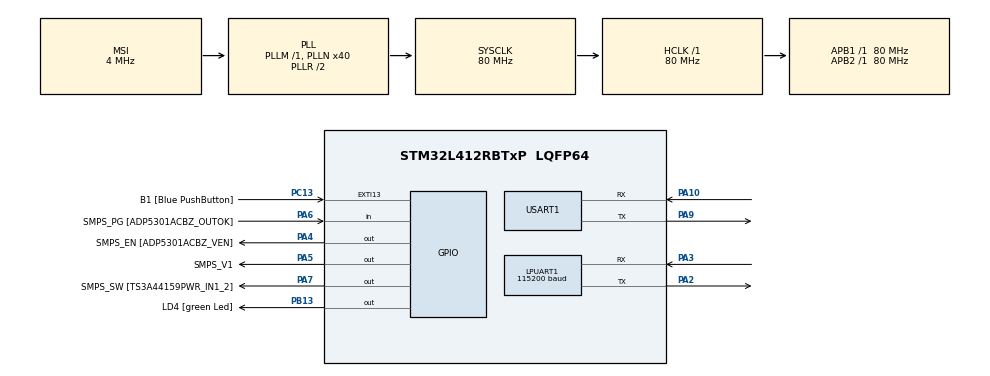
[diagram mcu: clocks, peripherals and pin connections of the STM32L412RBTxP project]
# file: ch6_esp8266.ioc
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LPUART1.BaudRate=115200
LPUART1.WordLength=UART_WORDLENGTH_8B
Mcu.Family=STM32L4
Mcu.Name=STM32L412RBTxP
Mcu.Package=LQFP64
NVIC.PriorityGroup=NVIC_PRIORITYGROUP_4
NVIC.USART1_IRQn=true\:0\:0\:false\:true\:true\:1\:true\:true\:true
PA10.Mode=Asynchronous
PA10.Signal=USART1_RX
PA13\ (JTMS/SWDIO).GPIO_Label=TMS
PA13\ (JTMS/SWDIO).Mode=Serial_Wire
PA13\ (JTMS/SWDIO).Signal=SYS_JTMS-SWDIO
PA14\ (JTCK/SWCLK).GPIO_Label=TCK
PA14\ (JTCK/SWCLK).Mode=Serial_Wire
PA14\ (JTCK/SWCLK).Signal=SYS_JTCK-SWCLK
PA2.Mode=Asynchronous
PA2.Signal=LPUART1_TX
PA3.Mode=Asynchronous
PA3.Signal=LPUART1_RX
PA4.GPIO_Label=SMPS_EN [ADP5301ACBZ_VEN]
PA4.Signal=GPIO_Output
PA5.GPIO_Label=SMPS_V1
PA5.GPIO_ModeDefaultOutputPP=GPIO_MODE_OUTPUT_PP
PA5.GPIO_PuPd=GPIO_NOPULL
PA5.GPIO_Speed=GPIO_SPEED_FREQ_LOW
PA5.Signal=GPIO_Output
PA6.GPIO_Label=SMPS_PG [ADP5301ACBZ_OUTOK]
PA6.GPIO_PuPd=GPIO_PULLUP
PA6.Signal=GPIO_Input
PA7.GPIO_Label=SMPS_SW [TS3A44159PWR_IN1_2]
PA7.Signal=GPIO_Output
PA9.Mode=Asynchronous
PA9.Signal=USART1_TX
PB13.GPIO_Label=LD4 [green Led]
PB13.Signal=GPIO_Output
PB3\ (JTDO/TRACESWO).GPIO_Label=SWO
PB3\ (JTDO/TRACESWO).Signal=SYS_JTDO-SWO
PC13.GPIO_Label=B1 [Blue PushButton]
PC13.GPIO_ModeDefaultEXTI=GPIO_MODE_IT_FALLING
PC13.GPIO_PuPd=GPIO_NOPULL
PC13.Signal=GPXTI13
PC14-OSC32_IN\ (PC14).Mode=LSE-External-Oscillator
PC14-OSC32_IN\ (PC14).Signal=RCC_OSC32_IN
PC15-OSC32_OUT\ (PC15).Mode=LSE-External-Oscillator
PC15-OSC32_OUT\ (PC15).Signal=RCC_OSC32_OUT
PH0-OSC_IN\ (PH0).GPIO_Label=MCO
PH0-OSC_IN\ (PH0).Mode=HSE-External-Clock-Source
PH0-OSC_IN\ (PH0).Signal=RCC_OSC_IN
PH1-OSC_OUT\ (PH1).Signal=RCC_OSC_OUT
ProjectManager.HeapSize=0x200
ProjectManager.StackSize=0x400
ProjectManager.TargetToolchain=STM32CubeIDE
RCC.ADCFreq_Value=80000000
RCC.AHBFreq_Value=80000000
RCC.APB1Freq_Value=80000000
RCC.APB1TimFreq_Value=80000000
RCC.APB2Freq_Value=80000000
RCC.APB2TimFreq_Value=80000000
RCC.CortexFreq_Value=80000000
RCC.FLatency=FLASH_LATENCY_4
RCC.HCLKFreq_Value=80000000
RCC.HSE_VALUE=8000000
RCC.HSI48_VALUE=48000000
RCC.HSICalibrationValue=64
RCC.HSI_VALUE=16000000
RCC.MSIAutoCalibration=DISABLED
RCC.MSI_VALUE=4000000
RCC.PLLN=40
RCC.PREFETCH_ENABLE=1
RCC.SYSCLKFreq_VALUE=80000000
RCC.SYSCLKSource=RCC_SYSCLKSOURCE_PLLCLK
RCC.USBFreq_Value=4000000
RCC.VCOOutputFreq_Value=160000000
USART1.VirtualMode-Asynchronous=VM_ASYNC
board=NUCLEO-L412RB-P

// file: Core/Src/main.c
/* USER CODE BEGIN Header */
/**
  ******************************************************************************
  * @file           : main.c
  * @brief          : Main program body
  ******************************************************************************
  * @attention
  *
  * Copyright (c) 2026 STMicroelectronics.
  * All rights reserved.
  *
  * This software is licensed under terms that can be found in the LICENSE file
  * in the root directory of this software component.
  * If no LICENSE file comes with this software, it is provided AS-IS.
  *
  ******************************************************************************
  */
/* USER CODE END Header */
#include "main.h"

/* USER CODE BEGIN Includes */
#include "esp8266.h"
#include "queue.h"
#include <stdbool.h>
#include <stdint.h>
#include <string.h>

/* USER CODE END Includes */

UART_HandleTypeDef hlpuart1;
UART_HandleTypeDef huart1;

/* USER CODE BEGIN PV */

// UART로 출력 보내기 위한 함수
int _write(int file, char *ptr, int len) {

  //(void)file;
  HAL_UART_Transmit(&hlpuart1, (uint8_t *)ptr, len, 100);
  // HAL_UART_Transmit(&hlpuart1, (uint8_t *)ptr, len, HAL_MAX_DELAY);
  return len;

}
/* USER CODE END PV */

void SystemClock_Config(void);
static void MX_GPIO_Init(void);
static void MX_LPUART1_UART_Init(void);
static void MX_USART1_UART_Init(void);
static void MX_NVIC_Init(void);

/* USER CODE BEGIN 0 */
#define BUF_SIZE 100

uint8_t rxData;
uint8_t buf[BUF_SIZE] = {
    0,
};
uint8_t recv_buf[BUF_SIZE] = {
    0,
};

// 구조체 선언
ring struct_ring;
esp_8266 struct_esp8266;

/* USER CODE END 0 */

int main(void)
{

  /* MCU Configuration--------------------------------------------------------*/

  /* Reset of all peripherals, Initializes the Flash interface and the Systick. */
   HAL_Init();

  /* Configure the system clock */
  SystemClock_Config();

  /* USER CODE BEGIN SysInit */  // r->q_data[r->index] = r->data[r->front];

  /* USER CODE END SysInit */

  /* Initialize all configured peripherals */
  MX_GPIO_Init();
  MX_LPUART1_UART_Init();
  MX_USART1_UART_Init();

  /* Initialize interrupts */
  MX_NVIC_Init();
  /* USER CODE BEGIN 2 */

  printf("LPUART printf test \r\n");

  // 구조체 초기화
  init_ring(&struct_ring, buf, BUF_SIZE);
  init_esp_8266(&struct_esp8266, recv_buf);

  HAL_UART_Receive_IT(&huart1, &rxData, 1);

  // html의 strlen 값 -> 추후 값 가져오기로 대체 예정
  // print_html_strlen();
  char *return_AT[50];
  strcpy(return_AT, set_AT_CIPSEND());
  printf("return_AT : %s \r\n", return_AT);

  /* USER CODE END 2 */

  /* Infinite loop */
  while (1){

    /* USER CODE BEGIN 3 */

    // process_ring_html을 bool로 처리할 이유 있을지?
    // 링버퍼에 저장하는 함수
    process_ring_html(&struct_ring, &struct_esp8266);
    // device 연결을 위한 함수 -> 연결 이후에 사용 불가능한 state
    sequence_html(&struct_ring, &struct_esp8266);

    // AP, Device가 정상 연결 상태인지 check
    check_connection(&struct_ring, &struct_esp8266);
    // html 데이터 전송 , LED 동작 기능
    // connect_html(&recv, recv_buf, &struct_esp8266, &recv_cnt);

    /* USER CODE END 3 */
  }
}

void SystemClock_Config(void)
{
  RCC_OscInitTypeDef RCC_OscInitStruct = {0};
  RCC_ClkInitTypeDef RCC_ClkInitStruct = {0};

  /** Configure the main internal regulator output voltage
  */
  if (HAL_PWREx_ControlVoltageScaling(PWR_REGULATOR_VOLTAGE_SCALE1) != HAL_OK)
  {
    Error_Handler();
  }

  /** Initializes the RCC Oscillators according to the specified parameters
  * in the RCC_OscInitTypeDef structure.
  */
  RCC_OscInitStruct.OscillatorType = RCC_OSCILLATORTYPE_MSI;
  RCC_OscInitStruct.MSIState = RCC_MSI_ON;
  RCC_OscInitStruct.MSICalibrationValue = 0;
  RCC_OscInitStruct.MSIClockRange = RCC_MSIRANGE_6;
  RCC_OscInitStruct.PLL.PLLState = RCC_PLL_ON;
  RCC_OscInitStruct.PLL.PLLSource = RCC_PLLSOURCE_MSI;
  RCC_OscInitStruct.PLL.PLLM = 1;
  RCC_OscInitStruct.PLL.PLLN = 40;
  RCC_OscInitStruct.PLL.PLLQ = RCC_PLLQ_DIV2;
  RCC_OscInitStruct.PLL.PLLR = RCC_PLLR_DIV2;
  if (HAL_RCC_OscConfig(&RCC_OscInitStruct) != HAL_OK)
  {
    Error_Handler();
  }

  /** Initializes the CPU, AHB and APB buses clocks
  */
  RCC_ClkInitStruct.ClockType = RCC_CLOCKTYPE_HCLK|RCC_CLOCKTYPE_SYSCLK
                              |RCC_CLOCKTYPE_PCLK1|RCC_CLOCKTYPE_PCLK2;
  RCC_ClkInitStruct.SYSCLKSource = RCC_SYSCLKSOURCE_PLLCLK;
  RCC_ClkInitStruct.AHBCLKDivider = RCC_SYSCLK_DIV1;
  RCC_ClkInitStruct.APB1CLKDivider = RCC_HCLK_DIV1;
  RCC_ClkInitStruct.APB2CLKDivider = RCC_HCLK_DIV1;

  if (HAL_RCC_ClockConfig(&RCC_ClkInitStruct, FLASH_LATENCY_4) != HAL_OK)
  {
    Error_Handler();
  }
}

/**
  * @brief NVIC Configuration.
  * @retval None
  */
static void MX_NVIC_Init(void)
{
  /* USART1_IRQn interrupt configuration */
  HAL_NVIC_SetPriority(USART1_IRQn, 0, 0);
  HAL_NVIC_EnableIRQ(USART1_IRQn);
}

static void MX_LPUART1_UART_Init(void)
{

  hlpuart1.Instance = LPUART1;
  hlpuart1.Init.BaudRate = 115200;
  hlpuart1.Init.WordLength = UART_WORDLENGTH_8B;
  hlpuart1.Init.StopBits = UART_STOPBITS_1;
  hlpuart1.Init.Parity = UART_PARITY_NONE;
  hlpuart1.Init.Mode = UART_MODE_TX_RX;
  hlpuart1.Init.HwFlowCtl = UART_HWCONTROL_NONE;
  hlpuart1.Init.OneBitSampling = UART_ONE_BIT_SAMPLE_DISABLE;
  hlpuart1.AdvancedInit.AdvFeatureInit = UART_ADVFEATURE_NO_INIT;
  if (HAL_UART_Init(&hlpuart1) != HAL_OK)
  {
    Error_Handler();
  }

}

static void MX_USART1_UART_Init(void)
{

  huart1.Instance = USART1;
  huart1.Init.BaudRate = 115200;
  huart1.Init.WordLength = UART_WORDLENGTH_8B;
  huart1.Init.StopBits = UART_STOPBITS_1;
  huart1.Init.Parity = UART_PARITY_NONE;
  huart1.Init.Mode = UART_MODE_TX_RX;
  huart1.Init.HwFlowCtl = UART_HWCONTROL_NONE;
  huart1.Init.OverSampling = UART_OVERSAMPLING_16;
  huart1.Init.OneBitSampling = UART_ONE_BIT_SAMPLE_DISABLE;
  huart1.AdvancedInit.AdvFeatureInit = UART_ADVFEATURE_NO_INIT;
  if (HAL_UART_Init(&huart1) != HAL_OK)
  {
    Error_Handler();
  }

}

static void MX_GPIO_Init(void)
{
  GPIO_InitTypeDef GPIO_InitStruct = {0};

  /* GPIO Ports Clock Enable */
  __HAL_RCC_GPIOC_CLK_ENABLE();
  __HAL_RCC_GPIOH_CLK_ENABLE();
  __HAL_RCC_GPIOA_CLK_ENABLE();
  __HAL_RCC_GPIOB_CLK_ENABLE();

  /*Configure GPIO pin Output Level */
  HAL_GPIO_WritePin(GPIOA, SMPS_EN_Pin|SMPS_V1_Pin|SMPS_SW_Pin, GPIO_PIN_RESET);

  /*Configure GPIO pin Output Level */
  HAL_GPIO_WritePin(LD4_GPIO_Port, LD4_Pin, GPIO_PIN_RESET);

  /*Configure GPIO pin : B1_Pin */
  GPIO_InitStruct.Pin = B1_Pin;
  GPIO_InitStruct.Mode = GPIO_MODE_IT_FALLING;
  GPIO_InitStruct.Pull = GPIO_NOPULL;
  HAL_GPIO_Init(B1_GPIO_Port, &GPIO_InitStruct);

  /*Configure GPIO pins : SMPS_EN_Pin SMPS_V1_Pin SMPS_SW_Pin */
  GPIO_InitStruct.Pin = SMPS_EN_Pin|SMPS_V1_Pin|SMPS_SW_Pin;
  GPIO_InitStruct.Mode = GPIO_MODE_OUTPUT_PP;
  GPIO_InitStruct.Pull = GPIO_NOPULL;
  GPIO_InitStruct.Speed = GPIO_SPEED_FREQ_LOW;
  HAL_GPIO_Init(GPIOA, &GPIO_InitStruct);

  /*Configure GPIO pin : SMPS_PG_Pin */
  GPIO_InitStruct.Pin = SMPS_PG_Pin;
  GPIO_InitStruct.Mode = GPIO_MODE_INPUT;
  GPIO_InitStruct.Pull = GPIO_PULLUP;
  HAL_GPIO_Init(SMPS_PG_GPIO_Port, &GPIO_InitStruct);

  /*Configure GPIO pin : LD4_Pin */
  GPIO_InitStruct.Pin = LD4_Pin;
  GPIO_InitStruct.Mode = GPIO_MODE_OUTPUT_PP;
  GPIO_InitStruct.Pull = GPIO_NOPULL;
  GPIO_InitStruct.Speed = GPIO_SPEED_FREQ_LOW;
  HAL_GPIO_Init(LD4_GPIO_Port, &GPIO_InitStruct);

  // LED 추가

}

/* USER CODE BEGIN 4 */
void HAL_UART_RxCpltCallback(UART_HandleTypeDef *huart) {
  if (huart->Instance == USART1) {
    // rx 데이터 존재하는 상태

    enqueue_ring(&struct_ring, rxData);

    HAL_UART_Receive_IT(&huart1, &rxData, 1);
  }
}
/* USER CODE END 4 */

void Error_Handler(void)
{
  __disable_irq();
  while (1)
  {
  }
}
